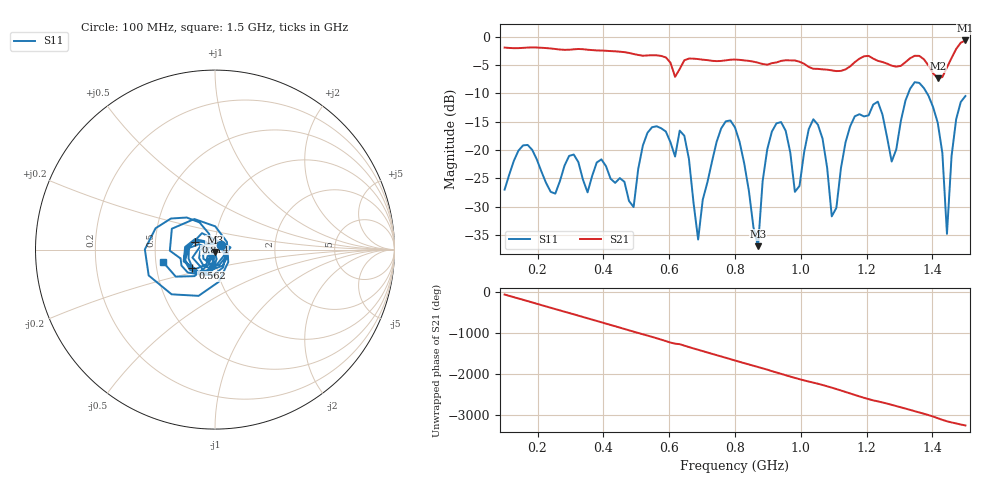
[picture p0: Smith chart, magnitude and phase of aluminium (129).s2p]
! NanoVNA-App
! Date: 2025-09-25 14:56:17
! Start: 100MHz Stop: 1,5GHz Points: 101
! S-Parameter data: F S11 S21 S12 S22
# Hz S RI R 50
!  Frequency  S11_Real  S11_Imag  S21_Real  S21_Imag  S12_Real  S12_Imag  S22_Real  S22_Imag
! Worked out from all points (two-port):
!   101 points, 100 MHz to 1.5 GHz, reference 50 ohm
!   highest |S21| = -0.67 dB at 1.5 GHz (marker M1); lowest = -7.3 dB at 1.416 GHz (marker M2)
!   |S21| within 3 dB of the highest: start of sweep to 590 MHz; 1.459 GHz to end of sweep (the widest 2 of 4)
!   lowest |S11| = -37.0 dB at 870 MHz (marker M3), VSWR 1.03, Z = 49.9 - j1.41 ohm
!   |S11| at or under -10 dB: start of sweep to 1.327 GHz; 1.383 GHz to end of sweep
!   S12 and S22 are empty: the file has one direction only
!   S11 on the Smith chart (normalised r, x): 100 MHz: 1.07, +0.06; 562 MHz: 0.76, -0.16; 814 MHz: 0.80, +0.07; 1.5 GHz: 0.54, -0.08
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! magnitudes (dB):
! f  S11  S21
! 100 MHz  -27.0  -1.9
! 338 MHz  -25.2  -2.2
! 492 MHz  -30.1  -3.1
! 562 MHz  -15.8  -3.3
! 576 MHz  -16.2  -3.4
! 646 MHz  -17.5  -4.2
! 688 MHz  -35.8  -4.0
! 800 MHz  -16.0  -4.0
! 814 MHz  -18.6  -4.1
! 870 MHz  -37.0  -4.6
! 912 MHz  -16.8  -4.7
! 982 MHz  -27.4  -4.2
! 1.038 GHz  -14.6  -5.7
! 1.094 GHz  -31.7  -5.9
! 1.164 GHz  -14.1  -4.5
! 1.234 GHz  -11.5  -4.3
! 1.276 GHz  -22.0  -5.1
! 1.346 GHz  -8.0  -3.4
! 1.416 GHz  -15.2  -7.3
! 1.444 GHz  -34.8  -5.4
! 1.472 GHz  -14.6  -2.2
! 1.5 GHz  -10.5  -0.7
